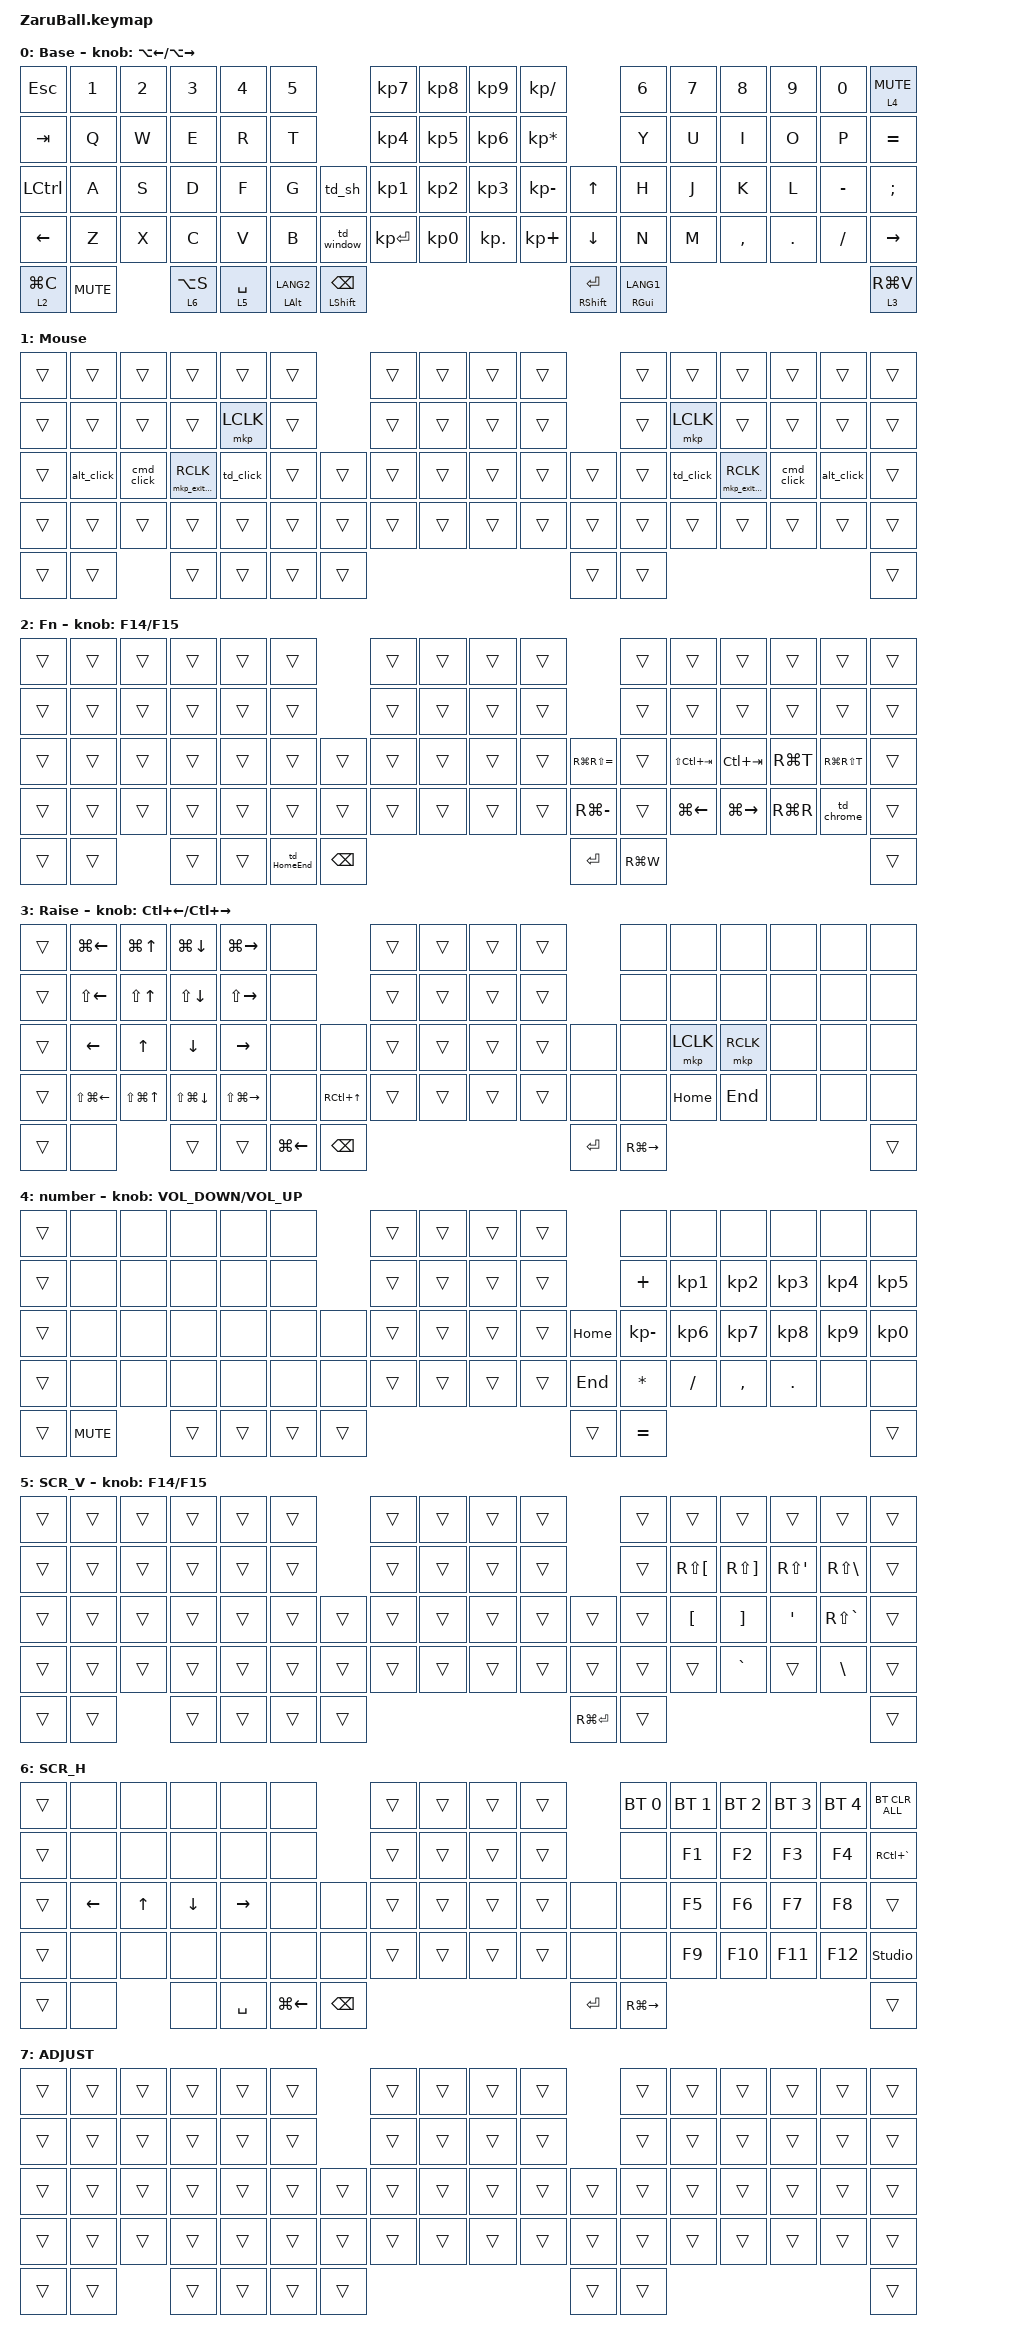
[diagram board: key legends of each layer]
//#include <dt-bindings/zmk/mouse.h>

#include <behaviors/rgbled_widget.dtsi>
#include <behaviors/naginata.dtsi>
#include <input/processors.dtsi>
#include <dt-bindings/zmk/input_transform.h>
#include <behaviors.dtsi>
#include <dt-bindings/zmk/bt.h>
#include <dt-bindings/zmk/keys.h>
#include <dt-bindings/zmk/pointing.h>

#define BASE     0
#define MOUSE    1
#define LOWER    2
#define RAISE    3
#define NUM      4
#define SCR_V    5      // ← scr_v_layer
#define SCR_H    6      // ← scr_h_layer
#define ADJUST   7

// スクロール量の設定
// #define ZMK_POINTING_DEFAULT_SCRL_VAL 100

/ {
    conditional_layers {
        compatible = "zmk,conditional-layers";

        tri_layer {
            if-layers = <LOWER RAISE>;   // ← 数値の代わりにマクロでOK
            then-layer = <ADJUST>;       // ← 4 → ADJUST(=7)
        };
    };
};

/ {
    behaviors {
        // スクロール用のbehaviorの設定

        scroll_down_up: behavior_sensor_rotate_mouse_wheel_down_up {
            compatible = "zmk,behavior-sensor-rotate";
            #sensor-binding-cells = <0>;
            bindings = <&msc SCRL_DOWN>, <&msc SCRL_UP>;

            tap-ms = <20>; // スクロールのタップ時間
        };

        // 方向が逆だと思ったら、下の別定義を有効化して置き換えればOK
        // scroll_up_down: behavior_sensor_rotate_mouse_wheel_up_down {
        //     compatible = "zmk,behavior-sensor-rotate";
        //     #sensor-binding-cells = <0>;
        //     bindings = <&msc SCRL_UP>, <&msc SCRL_DOWN>; // ↑と↓を反転
        //     tap-ms = <20>;
        // };

        td0: tap_dance_0 {
            compatible = "zmk,behavior-tap-dance";
            #binding-cells = <0>;
            tapping-term-ms = <200>;
            bindings = <&mt LALT LANG2>, <&mo RAISE>, <&mo MOUSE>;
        };

        td1: tap_dance_1 {
            compatible = "zmk,behavior-tap-dance";
            #binding-cells = <0>;
            tapping-term-ms = <200>;
            bindings = <&mt RCTL LANG1>, <&mo RAISE>, <&mo MOUSE>;
        };

        // Customed Hold-Tap for SandS

        SandS: SandS {
            compatible = "zmk,behavior-hold-tap";
            #binding-cells = <2>;
            flavor = "tap-unless-interrupted";
            tapping-term-ms = <500>;
            quick-tap-ms = <500>;
            bindings = <&kp>, <&kp>;

            display-name = "SandS";
        };

        td_click: td_click {
            compatible = "zmk,behavior-tap-dance";
            #binding-cells = <0>;
            tapping-term-ms = <200>;
            bindings = <&mkp_exit_AML LCLK>, <&mkp_dblclick_exit_AML LCLK>;

            label = "TD_CLICK";
        };

        td_sh: td_sh {
            compatible = "zmk,behavior-tap-dance";
            label = "TD_SH";
            #binding-cells = <0>;
            bindings = <&kp LG(LS(NUMBER_5))>, <&kp LG(LS(NUMBER_4))>;
        };

        td_window: td_window {
            compatible = "zmk,behavior-tap-dance";
            label = "TD_WINDOW";
            #binding-cells = <0>;
            bindings = <&kp LA(UP_ARROW)>, <&kp LG(LA(UP_ARROW))>;
        };

        td_lang1: td_lang1 {
            compatible = "zmk,behavior-tap-dance";
            label = "TD_LANG1";
            #binding-cells = <0>;
            bindings = <&mt RIGHT_GUI LANG1>, <&kp RG(RIGHT_ARROW)>;

            tapping-term-ms = <125>;
        };

        td_lang2: td_lang2 {
            compatible = "zmk,behavior-tap-dance";
            label = "TD_LANG2";
            #binding-cells = <0>;
            bindings = <&mt LEFT_ALT LANG2>, <&kp RG(LEFT_ARROW)>;

            tapping-term-ms = <125>;
        };

        td_space: td_space {
            compatible = "zmk,behavior-tap-dance";
            label = "TD_SPACE";
            #binding-cells = <0>;
            bindings = <&lt 5 SPACE>, <&kp SPACE>;

            tapping-term-ms = <125>;
        };

        td_bs: td_bs {
            compatible = "zmk,behavior-tap-dance";
            label = "TD_BS";
            #binding-cells = <0>;
            bindings = <&mt LEFT_SHIFT BACKSPACE>, <&kp BACKSPACE>;

            tapping-term-ms = <125>;
        };

        td_enter: td_enter {
            compatible = "zmk,behavior-tap-dance";
            label = "TD_ENTER";
            #binding-cells = <0>;
            bindings = <&mt RIGHT_SHIFT ENTER>, <&kp ENTER>;

            tapping-term-ms = <125>;
        };

        td_app: td_app {
            compatible = "zmk,behavior-tap-dance";
            label = "TD_APP";
            #binding-cells = <0>;
            bindings = <&lt 6 LA(S)>, <&kp LA(N)>;

            tapping-term-ms = <125>;
        };

        td_mute: td_mute {
            compatible = "zmk,behavior-tap-dance";
            label = "TD_MUTE";
            #binding-cells = <0>;
            bindings = <&kp RG(RS(T))>, <&kp C_MUTE>;
        };

        td_chrome: td_chrome {
            compatible = "zmk,behavior-tap-dance";
            label = "TD_CHROME";
            #binding-cells = <0>;
            bindings = <&kp RS(RG(N))>, <&kp LG(LA(I))>;
        };

        td_HomeEnd: td_HomeEnd {
            compatible = "zmk,behavior-tap-dance";
            label = "TD_HOMEEND";
            #binding-cells = <0>;
            bindings = <&kp HOME>, <&kp END>;
        };
    };
};

&sl { release-after-ms = <250>; }; // time needed for double click (for mkp_exit_AML)
/ {
    macros {
        // When in AML, move to default layer when key (except mouse button) pressed

        to_layer_0: to_layer_0 {
            compatible = "zmk,behavior-macro-one-param";
            #binding-cells = <1>;
            bindings = <&tog MOUSE &macro_param_1to1 &kp MACRO_PLACEHOLDER>;
            label = "TO_layer_0";
        };

        // When LCLK pressed, exit AML after 250ms

        mkp_exit_AML: mkp_exit_AML {
            compatible = "zmk,behavior-macro-one-param";
            #binding-cells = <1>;
            bindings =
                <&macro_press>,
                <&macro_param_1to1 &mkp MACRO_PLACEHOLDER>,
                <&macro_pause_for_release>,
                <&macro_release>,
                <&macro_param_1to1 &mkp MACRO_PLACEHOLDER>,
                <&macro_wait_time 120>,
                <&macro_tap>,
                <&to 0>;

            label = "MKP_EXIT_AML";
        };

        mkp_dblclick_exit_AML: mkp_dblclick_exit_AML {
            compatible = "zmk,behavior-macro-one-param";
            #binding-cells = <1>;

            /* 想定：MOUSEレイヤー=1。必要なら &tog の引数はMOUSEに置換可 */

            bindings =
                <&macro_tap>,
                <&macro_param_1to1 &mkp MACRO_PLACEHOLDER>,
                <&macro_wait_time 40>,
                <&macro_tap>,
                <&macro_param_1to1 &mkp MACRO_PLACEHOLDER>,
                <&macro_wait_time 120>,
                <&macro_tap>,
                <&to 0>;

            label = "MKP_DBLCLICK_EXIT_AML";
        };

        cmd_click: cmd_click {
            compatible = "zmk,behavior-macro";
            #binding-cells = <0>;
            bindings =
                <&macro_press>,
                <&kp LEFT_GUI>,
                <&macro_wait_time 25>,
                <&mkp LCLK>,
                <&macro_pause_for_release>,
                <&macro_release>,
                <&macro_wait_time 5>,
                <&mkp LCLK>,
                <&macro_wait_time 15>,
                <&kp LEFT_GUI>,
                <&macro_wait_time 120>,
                <&macro_tap>,
                <&to 0>;

            label = "CMD_CLICK";
        };

        alt_click: alt_click {
            compatible = "zmk,behavior-macro";
            #binding-cells = <0>;
            bindings =
                <&macro_press>,
                <&kp LEFT_ALT>,
                <&macro_wait_time 25>,
                <&mkp LCLK>,
                <&macro_pause_for_release>,
                <&macro_release>,
                <&macro_wait_time 5>,
                <&mkp LCLK>,
                <&macro_wait_time 15>,
                <&kp LEFT_ALT>,
                <&macro_wait_time 120>,
                <&macro_tap>,
                <&to 0>;

            label = "ALT_CLICK";
        };
    };
};

/ {
    keymap {
        compatible = "zmk,keymap";

        base_layer {
            display-name = "Base";
            sensor-bindings = <&inc_dec_kp LA(LEFT_ARROW) LA(RIGHT_ARROW)>;
            bindings = <
&kp ESC           &kp N1      &kp N2  &kp N3       &kp N4       &kp N5                                          &kp KP_N7     &kp KP_N8  &kp KP_N9   &kp KP_DIVIDE                             &kp NUMBER_6         &kp N7  &kp N8     &kp N9   &kp N0     &lt 4 C_MUTE
&kp TAB           &kp Q       &kp W   &kp E        &kp R        &kp T                                           &kp KP_N4     &kp KP_N5  &kp KP_N6   &kp KP_MULTIPLY                           &kp Y                &kp U   &kp I      &kp O    &kp P      &kp EQUAL
&kp LEFT_CONTROL  &kp A       &kp S   &kp D        &kp F        &kp G               &td_sh                      &kp KP_N1     &kp KP_N2  &kp KP_N3   &kp KP_MINUS       &kp UP_ARROW           &kp H                &kp J   &kp K      &kp L    &kp MINUS  &kp SEMICOLON
&kp LEFT_ARROW    &kp Z       &kp X   &kp C        &kp V        &kp B               &td_window                  &kp KP_ENTER  &kp KP_N0  &kp KP_DOT  &kp KP_PLUS        &kp DOWN_ARROW         &kp N                &kp M   &kp COMMA  &kp DOT  &kp FSLH   &kp RIGHT_ARROW
&lt 2 LG(C)       &kp C_MUTE          &lt 6 LA(S)  &lt 5 SPACE  &mt LEFT_ALT LANG2  &mt LEFT_SHIFT BACKSPACE                                                            &mt RIGHT_SHIFT ENTER  &mt RIGHT_GUI LANG1                                         &lt 3 RG(V)
            >;
        };

        mouse_layer {
            display-name = "Mouse";
            bindings = <
&trans  &trans      &trans      &trans              &trans     &trans            &trans  &trans  &trans  &trans            &trans  &trans     &trans              &trans      &trans      &trans
&trans  &trans      &trans      &trans              &mkp LCLK  &trans            &trans  &trans  &trans  &trans            &trans  &mkp LCLK  &trans              &trans      &trans      &trans
&trans  &alt_click  &cmd_click  &mkp_exit_AML RCLK  &td_click  &trans  &trans    &trans  &trans  &trans  &trans    &trans  &trans  &td_click  &mkp_exit_AML RCLK  &cmd_click  &alt_click  &trans
&trans  &trans      &trans      &trans              &trans     &trans  &trans    &trans  &trans  &trans  &trans    &trans  &trans  &trans     &trans              &trans      &trans      &trans
&trans  &trans                  &trans              &trans     &trans  &trans                                      &trans  &trans                                                         &trans
            >;
        };

        Fn_layer {
            display-name = "Fn";
            sensor-bindings = <&inc_dec_kp F14 F15>;
            bindings = <
&trans  &trans  &trans  &trans  &trans  &trans                        &trans  &trans  &trans  &trans                       &trans     &trans              &trans               &trans     &trans         &trans
&trans  &trans  &trans  &trans  &trans  &trans                        &trans  &trans  &trans  &trans                       &trans     &trans              &trans               &trans     &trans         &trans
&trans  &trans  &trans  &trans  &trans  &trans       &trans           &trans  &trans  &trans  &trans    &kp RG(RS(EQUAL))  &trans     &kp LS(LC(TAB))     &kp LC(TAB)          &kp RG(T)  &kp RG(RS(T))  &trans
&trans  &trans  &trans  &trans  &trans  &trans       &trans           &trans  &trans  &trans  &trans    &kp RG(MINUS)      &trans     &kp LG(LEFT_ARROW)  &kp LG(RIGHT_ARROW)  &kp RG(R)  &td_chrome     &trans
&trans  &trans          &trans  &trans  &td_HomeEnd  &kp BACKSPACE                                      &kp ENTER          &kp RG(W)                                                                     &trans
            >;
        };

        raise_layer {
            display-name = "Raise";
            sensor-bindings = <&inc_dec_kp LC(LEFT_ARROW) LC(RIGHT_ARROW)>;
            bindings = <
&trans  &kp LG(LEFT_ARROW)      &kp LG(UP_ARROW)      &kp LG(DOWN_ARROW)      &kp LG(RIGHT_ARROW)      &none                                   &trans  &trans  &trans  &trans               &none                &none      &none      &none  &none  &none
&trans  &kp LS(LEFT)            &kp LS(UP_ARROW)      &kp LS(DOWN_ARROW)      &kp LS(RIGHT)            &none                                   &trans  &trans  &trans  &trans               &none                &none      &none      &none  &none  &none
&trans  &kp LEFT_ARROW          &kp UP_ARROW          &kp DOWN_ARROW          &kp RIGHT_ARROW          &none               &none               &trans  &trans  &trans  &trans    &none      &none                &mkp LCLK  &mkp RCLK  &none  &none  &none
&trans  &kp LS(LG(LEFT_ARROW))  &kp LS(LG(UP_ARROW))  &kp LS(LG(DOWN_ARROW))  &kp LS(LG(RIGHT_ARROW))  &none               &kp RC(UP_ARROW)    &trans  &trans  &trans  &trans    &none      &none                &kp HOME   &kp END    &none  &none  &none
&trans  &none                                         &trans                  &trans                   &kp LG(LEFT_ARROW)  &kp BACKSPACE                                         &kp ENTER  &kp RG(RIGHT_ARROW)                                      &trans
            >;
        };

        number_layer {
            display-name = "number";
            sensor-bindings = <&inc_dec_kp C_VOLUME_DOWN C_VOLUME_UP>;
            bindings = <
&trans  &none       &none  &none   &none   &none             &trans  &trans  &trans  &trans              &none         &none            &none            &none            &none            &none
&trans  &none       &none  &none   &none   &none             &trans  &trans  &trans  &trans              &kp PLUS      &kp KP_NUMBER_1  &kp KP_NUMBER_2  &kp KP_NUMBER_3  &kp KP_NUMBER_4  &kp KP_NUMBER_5
&trans  &none       &none  &none   &none   &none   &none     &trans  &trans  &trans  &trans    &kp HOME  &kp KP_MINUS  &kp KP_NUMBER_6  &kp KP_NUMBER_7  &kp KP_NUMBER_8  &kp KP_NUMBER_9  &kp KP_NUMBER_0
&trans  &none       &none  &none   &none   &none   &none     &trans  &trans  &trans  &trans    &kp END   &kp ASTERISK  &kp SLASH        &kp COMMA        &kp PERIOD       &none            &none
&trans  &kp C_MUTE         &trans  &trans  &trans  &trans                                      &trans    &kp EQUAL                                                                         &trans
            >;
        };

        scr_v_layer {
            display-name = "SCR_V";
            bindings = <
&trans  &trans  &trans  &trans  &trans  &trans            &trans  &trans  &trans  &trans                   &trans  &trans                &trans                 &trans       &trans             &trans
&trans  &trans  &trans  &trans  &trans  &trans            &trans  &trans  &trans  &trans                   &trans  &kp RS(LEFT_BRACKET)  &kp RS(RIGHT_BRACKET)  &kp RS(SQT)  &kp RS(BACKSLASH)  &trans
&trans  &trans  &trans  &trans  &trans  &trans  &trans    &trans  &trans  &trans  &trans    &trans         &trans  &kp LEFT_BRACKET      &kp RIGHT_BRACKET      &kp SQT      &kp RS(GRAVE)      &trans
&trans  &trans  &trans  &trans  &trans  &trans  &trans    &trans  &trans  &trans  &trans    &trans         &trans  &trans                &kp GRAVE              &trans       &kp BACKSLASH      &trans
&trans  &trans          &trans  &trans  &trans  &trans                                      &kp RG(ENTER)  &trans                                                                               &trans
            >;

            sensor-bindings = <&inc_dec_kp F14 F15>;
        };

        scr_h_layer {
            display-name = "SCR_H";
            bindings = <
&trans  &none           &none         &none           &none            &none                                &trans  &trans  &trans  &trans               &bt BT_SEL 0         &bt BT_SEL 1  &bt BT_SEL 2  &bt BT_SEL 3  &bt BT_SEL 4  &bt BT_CLR_ALL
&trans  &none           &none         &none           &none            &none                                &trans  &trans  &trans  &trans               &none                &kp F1        &kp F2        &kp F3        &kp F4        &kp RC(GRAVE)
&trans  &kp LEFT_ARROW  &kp UP_ARROW  &kp DOWN_ARROW  &kp RIGHT_ARROW  &none               &none            &trans  &trans  &trans  &trans    &none      &none                &kp F5        &kp F6        &kp F7        &kp F8        &trans
&trans  &none           &none         &none           &none            &none               &none            &trans  &trans  &trans  &trans    &none      &none                &kp F9        &kp F10       &kp F11       &kp F12       &studio_unlock
&trans  &none                         &none           &kp SPACE        &kp LG(LEFT_ARROW)  &kp BACKSPACE                                      &kp ENTER  &kp RG(RIGHT_ARROW)                                                          &trans
            >;
        };

        adjust_layer {
            display-name = "ADJUST";
            bindings = <
&trans  &trans  &trans  &trans  &trans  &trans            &trans  &trans  &trans  &trans            &trans  &trans  &trans  &trans  &trans  &trans
&trans  &trans  &trans  &trans  &trans  &trans            &trans  &trans  &trans  &trans            &trans  &trans  &trans  &trans  &trans  &trans
&trans  &trans  &trans  &trans  &trans  &trans  &trans    &trans  &trans  &trans  &trans    &trans  &trans  &trans  &trans  &trans  &trans  &trans
&trans  &trans  &trans  &trans  &trans  &trans  &trans    &trans  &trans  &trans  &trans    &trans  &trans  &trans  &trans  &trans  &trans  &trans
&trans  &trans          &trans  &trans  &trans  &trans                                      &trans  &trans                                  &trans
            >;
        };

        // Extra layer can be added in ZMK STUDIO

        extra1 { status = "reserved"; };

        extra2 { status = "reserved"; };
    };
};
